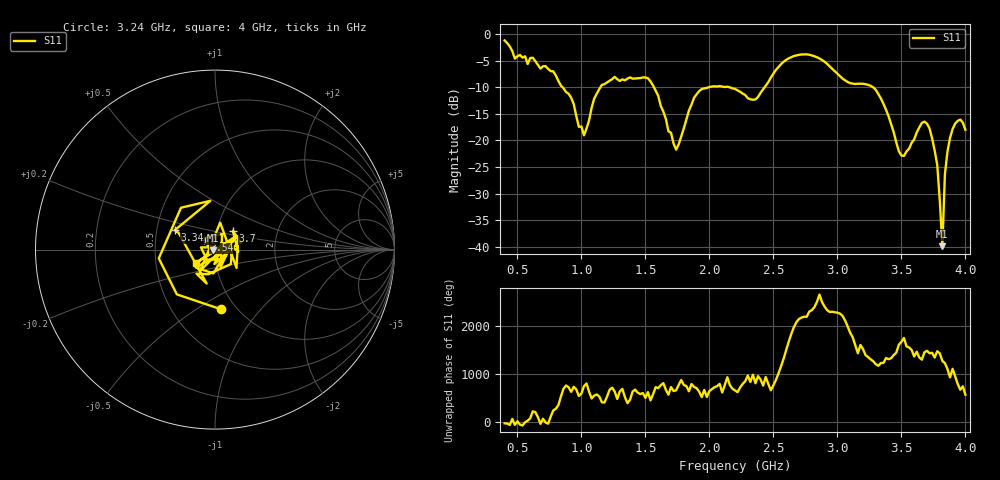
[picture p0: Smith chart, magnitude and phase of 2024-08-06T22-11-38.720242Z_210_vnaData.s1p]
!Created with skrf (http://scikit-rf.org).
# Hz S RI R 50.0
!freq ReS11 ImS11
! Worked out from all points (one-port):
!   181 points, 400 MHz to 4 GHz, reference 50 ohm
!   lowest |S11| = -39.9 dB at 3.82 GHz (marker M1), VSWR 1.02, Z = 49 - j0.297 ohm
!   |S11| at or under -10 dB: 854.2 MHz to 1.147 GHz (293 MHz wide, 29.3 % of centre); 1.568 GHz to 1.99 GHz (422.2 MHz wide, 23.7 % of centre); 3.281 GHz to end of sweep (the widest 3 of 4)
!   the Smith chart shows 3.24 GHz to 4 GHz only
!   S11 on the Smith chart (normalised r, x): 3.24 GHz: 0.85, -0.64; 3.34 GHz: 0.62, +0.14; 3.54 GHz: 0.88, +0.09; 3.7 GHz: 1.19, +0.25; 4 GHz: 0.80, -0.12
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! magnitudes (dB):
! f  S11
! 400 MHz  -1.1
! 480 MHz  -4.6
! 620 MHz  -4.4
! 860 MHz  -10.1
! 1.02 GHz  -19.0
! 1.16 GHz  -9.5
! 1.3 GHz  -8.8
! 1.52 GHz  -8.3
! 1.74 GHz  -21.7
! 1.76 GHz  -20.7
! 1.92 GHz  -10.7
! 2.2 GHz  -10.3
! 2.36 GHz  -12.2
! 2.66 GHz  -4.1
! 2.86 GHz  -4.5
! 3.1 GHz  -9.2
! 3.24 GHz  -9.5
! 3.34 GHz  -12.1
! 3.48 GHz  -22.0
! 3.54 GHz  -22.1
! 3.56 GHz  -21.5
! 3.7 GHz  -16.8
! 3.78 GHz  -24.6
! 3.82 GHz  -39.9
! 3.84 GHz  -26.4
! 3.88 GHz  -19.5
! 3.94 GHz  -16.3
! 4 GHz  -18.0
